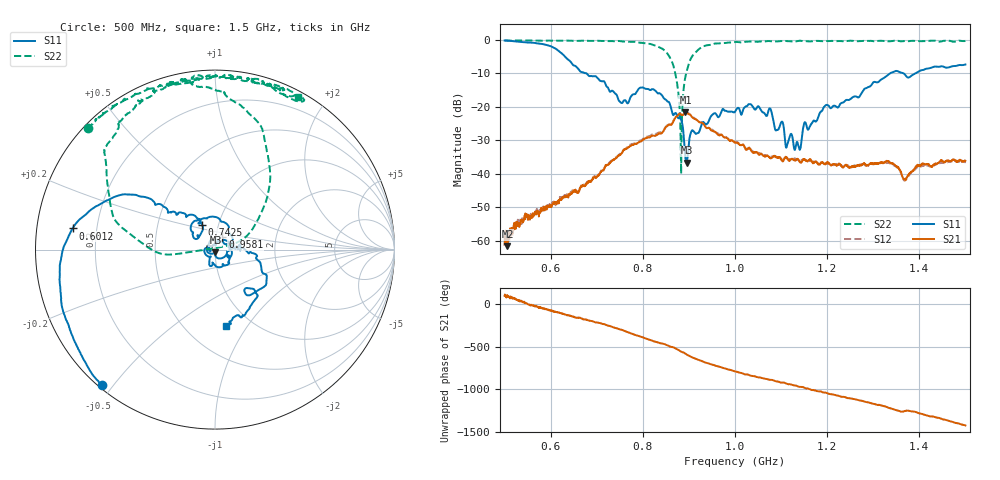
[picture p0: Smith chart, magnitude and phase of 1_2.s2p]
!Agilent Technologies,E8364B,US42250235,A.06.04.32
!Agilent E8364B: A.06.04.32
!Date: Friday, January 15, 2021 16:11:07
!Correction: S11(Full 2 Port(1,2)) S21(Full 2 Port(1,2)) S12(Full 2 Port(1,2)) S22(Full 2 Port(1,2))
!S2P File: Measurements: S11, S21, S12, S22:
# Hz S  dB  R 50
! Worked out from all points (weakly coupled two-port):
!   1601 points, 500 MHz to 1.5 GHz, reference 50 ohm
!   highest |S21| = -21.53 dB at 892.5 MHz (marker M1); lowest = -61.6 dB at 506.2 MHz (marker M2)
!   lowest |S11| = -36.6 dB at 895 MHz (marker M3), VSWR 1.03, Z = 50.2 - j1.46 ohm
!   |S11| at or under -10 dB: 677.9 MHz to 1.336 GHz (658.1 MHz wide, 65.4 % of centre); 1.366 GHz to 1.391 GHz (25.04 MHz wide, 1.82 % of centre)
!   |S22| runs from -39.9 to -0.1 dB; largest |S21 - S12| = 0.0046
!   S11 on the Smith chart (normalised r, x): 500 MHz: 0.01, -0.47; 601.2 MHz: 0.11, +0.07; 742.5 MHz: 0.84, +0.23; 958.1 MHz: 1.08, +0.15; 1.5 GHz: 0.76, -0.80
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5e8  -0.14 -129.8  -61.09 96.9  -58.31 113.2  -0.16 136.2
5.0625e8  -0.18 -132.4  -61.56 100.6  -58.87 93.1  -0.18 135.4
6.0125e8  -1.92 171.5  -49.90 -78.0  -49.54 -76.5  -0.18 125.8
6.2875e8  -4.62 148.4  -46.82 -119.2  -46.63 -116.9  -0.19 120.9
6.66875e8  -9.53 141.9  -43.81 -170.5  -43.82 -167.4  -0.22 116.5
7.425e8  -16.25 117.9  -35.29 75.6  -34.91 77.4  -0.37 104.8
8.3375e8  -15.94 76.2  -28.05 -93.1  -27.68 -91.8  -2.04 76.9
8.65625e8  -22.36 11.2  -24.50 -147.7  -24.30 -146.1  -7.39 46.4
8.81875e8  -23.36 -32.0  -22.15 163.7  -22.05 165.8  -29.02 23.3
8.8625e8  -25.51 -67.6  -22.45 154.1  -22.31 156.0  -18.85 -175.1
8.925e8  -35.28 -81.5  -21.53 136.2  -21.46 138.6  -10.86 -175.0
8.95e8  -36.61 -80.6  -21.67 127.2  -21.48 129.8  -9.39 -178.5
9.0625e8  -27.06 -163.4  -22.95 94.9  -22.88 97.2  -5.03 165.0
9.58125e8  -21.98 59.0  -27.65 -5.5  -27.34 -1.9  -1.02 127.4
1e9  -21.44 1.6  -30.66 -69.8  -30.30 -66.8  -0.60 116.2
1.07625e9  -20.44 -107.0  -35.15 -170.3  -34.76 -167.2  -0.34 105.3
1.089375e9  -26.98 -120.5  -34.95 171.5  -34.71 175.9  -0.42 101.9
1.1325e9  -31.42 112.9  -35.91 120.8  -35.49 121.4  -0.40 94.7
1.166875e9  -24.82 52.3  -36.38 69.1  -36.25 75.4  -0.38 91.6
1.33375e9  -10.25 -26.0  -36.26 -140.4  -36.58 -138.2  -0.39 77.0
1.36875e9  -10.33 -55.2  -41.66 -176.2  -42.04 -177.5  -0.31 73.9
1.5e9  -7.31 -82.1  -36.08 13.3  -36.43 12.4  -0.27 61.3
